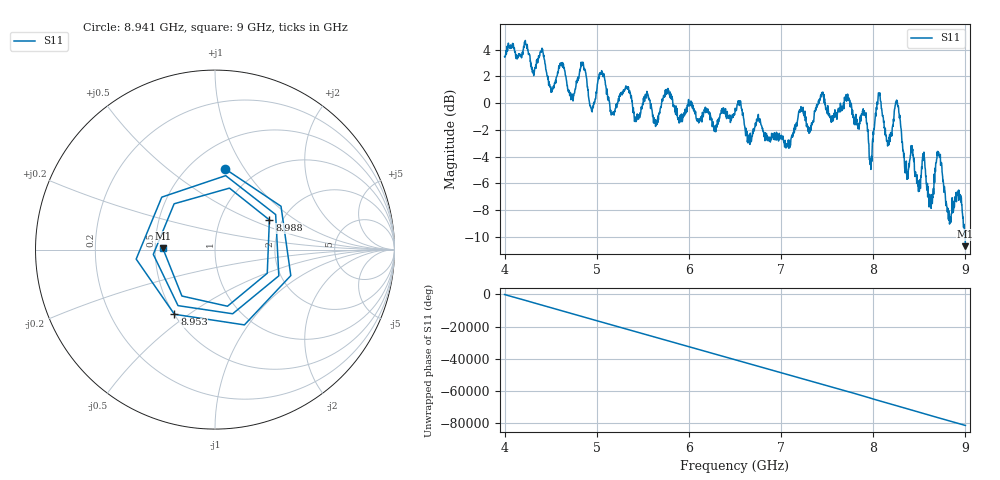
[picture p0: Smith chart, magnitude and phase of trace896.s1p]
! Created with skrf 1.8.0 (http://scikit-rf.org).
# Hz S RI R 50.0
!freq ReS11 ImS11
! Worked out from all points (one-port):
!   1601 points, 4 GHz to 9 GHz, reference 50 ohm
!   lowest |S11| = -10.7 dB at 9 GHz (marker M1), VSWR 1.82, Z = 27.5 + j0.498 ohm
!   |S11| at or under -10 dB: 8.997153 GHz to end of sweep
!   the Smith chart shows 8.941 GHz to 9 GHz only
!   S11 on the Smith chart (normalised r, x): 8.941 GHz: 0.72, +0.82; 8.953 GHz: 0.50, -0.44; 8.988 GHz: 1.72, +0.65; 9 GHz: 0.55, +0.01
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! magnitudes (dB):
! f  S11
! 4 GHz  3.5
! 4.403 GHz  4.0
! 4.509 GHz  1.1
! 4.625 GHz  3.0
! 4.725 GHz  0.6
! 4.847 GHz  3.1
! 4.944 GHz  -0.6
! 5.05 GHz  2.3
! 5.169 GHz  -0.8
! 5.25 GHz  0.7
! 5.875 GHz  -1.1
! 6.5 GHz  -0.6
! 7.125 GHz  -2.5
! 7.75 GHz  -0.3
! 7.909 GHz  -0.9
! 7.972 GHz  -4.3
! 8.056 GHz  0.8
! 8.159 GHz  -3.0
! 8.256 GHz  0.1
! 8.375 GHz  -5.7
! 8.547 GHz  -4.3
! 8.622 GHz  -7.2
! 8.712 GHz  -3.7
! 8.822 GHz  -8.8
! 8.941 GHz  -6.8
! 8.953 GHz  -7.4
! 8.988 GHz  -9.2
! 9 GHz  -10.7
